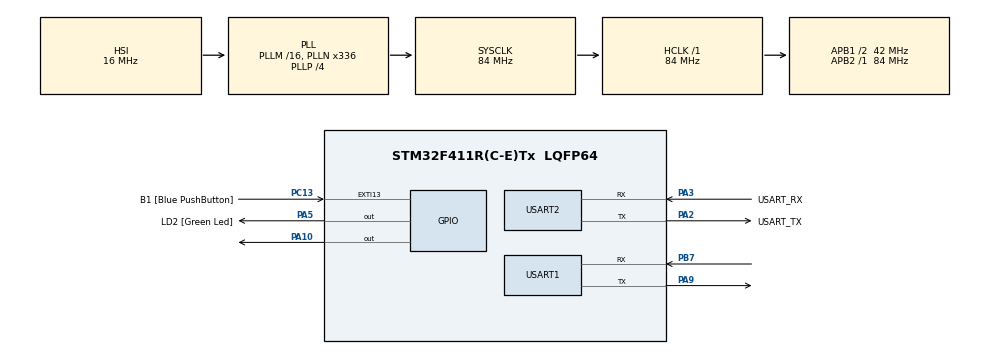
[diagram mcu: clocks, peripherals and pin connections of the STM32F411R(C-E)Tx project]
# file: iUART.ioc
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Mcu.Family=STM32F4
Mcu.Name=STM32F411R(C-E)Tx
Mcu.Package=LQFP64
NVIC.EXTI15_10_IRQn=true\:0\:0\:false\:false\:true\:true\:true\:true
NVIC.PriorityGroup=NVIC_PRIORITYGROUP_0
NVIC.USART1_IRQn=true\:0\:0\:false\:false\:true\:true\:true\:true
NVIC.USART2_IRQn=true\:0\:0\:false\:false\:true\:true\:true\:true
PA10.GPIO_PuPd=GPIO_NOPULL
PA10.Signal=GPIO_Output
PA13.GPIO_Label=TMS
PA13.Mode=Serial_Wire
PA13.Signal=SYS_JTMS-SWDIO
PA14.GPIO_Label=TCK
PA14.Mode=Serial_Wire
PA14.Signal=SYS_JTCK-SWCLK
PA2.GPIO_Label=USART_TX
PA2.Mode=Asynchronous
PA2.Signal=USART2_TX
PA3.GPIO_Label=USART_RX
PA3.Mode=Asynchronous
PA3.Signal=USART2_RX
PA5.GPIO_Label=LD2 [Green Led]
PA5.Signal=GPIO_Output
PA9.Mode=Asynchronous
PA9.Signal=USART1_TX
PB3.GPIO_Label=SWO
PB3.Signal=SYS_JTDO-SWO
PB7.Mode=Asynchronous
PB7.Signal=USART1_RX
PC13-ANTI_TAMP.GPIO_Label=B1 [Blue PushButton]
PC13-ANTI_TAMP.GPIO_ModeDefaultEXTI=GPIO_MODE_IT_FALLING
PC13-ANTI_TAMP.GPIO_PuPd=GPIO_NOPULL
PC13-ANTI_TAMP.Signal=GPXTI13
PC14-OSC32_IN.Mode=LSE-External-Oscillator
PC14-OSC32_IN.Signal=RCC_OSC32_IN
PC15-OSC32_OUT.Mode=LSE-External-Oscillator
PC15-OSC32_OUT.Signal=RCC_OSC32_OUT
PH0\ -\ OSC_IN.Mode=HSE-External-Clock-Source
PH0\ -\ OSC_IN.Signal=RCC_OSC_IN
PH1\ -\ OSC_OUT.Mode=HSE-External-Clock-Source
PH1\ -\ OSC_OUT.Signal=RCC_OSC_OUT
ProjectManager.HeapSize=0x200
ProjectManager.StackSize=0x400
ProjectManager.TargetToolchain=STM32CubeIDE
RCC.48MHZClocksFreq_Value=84000000
RCC.AHBFreq_Value=84000000
RCC.APB1CLKDivider=RCC_HCLK_DIV2
RCC.APB1Freq_Value=42000000
RCC.APB1TimFreq_Value=84000000
RCC.APB2Freq_Value=84000000
RCC.APB2TimFreq_Value=84000000
RCC.CortexFreq_Value=84000000
RCC.FLatency-AdvancedSettings=FLASH_LATENCY_2
RCC.HCLKFreq_Value=84000000
RCC.HSE_VALUE=8000000
RCC.HSI_VALUE=16000000
RCC.PLLN=336
RCC.PLLP=RCC_PLLP_DIV4
RCC.SYSCLKFreq_VALUE=84000000
RCC.SYSCLKSource=RCC_SYSCLKSOURCE_PLLCLK
RCC.VCOOutputFreq_Value=336000000
USART1.VirtualMode=VM_ASYNC
USART2.VirtualMode=VM_ASYNC
board=NUCLEO-F411RE

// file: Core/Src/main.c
/* USER CODE BEGIN Header */
/**
  ******************************************************************************
  * @file           : main.c
  * @brief          : Main program body
  ******************************************************************************
  * @attention
  *
  * Copyright (c) 2026 STMicroelectronics.
  * All rights reserved.
  *
  * This software is licensed under terms that can be found in the LICENSE file
  * in the root directory of this software component.
  * If no LICENSE file comes with this software, it is provided AS-IS.
  *
  ******************************************************************************
  */
/* USER CODE END Header */
#include "main.h"

/* USER CODE BEGIN Includes */
#include <stdio.h>
#include <string.h>
/* USER CODE END Includes */

UART_HandleTypeDef huart1;
UART_HandleTypeDef huart2;

void SystemClock_Config(void);
static void MX_GPIO_Init(void);
static void MX_USART2_UART_Init(void);
static void MX_USART1_UART_Init(void);
/* USER CODE BEGIN PFP */

#ifdef __GNUC__
  #define PUTCHAR_PROTOTYPE int __io_putchar(int ch)
#else
  #define PUTCHAR_PROTOTYPE int fputc(int ch, FILE *f)
#endif

PUTCHAR_PROTOTYPE
{
  HAL_UART_Transmit(&huart1, (uint8_t *)&ch, 1, 0xFFFF);
  return ch;
}

/* USER CODE END PFP */

/* USER CODE BEGIN 0 */

#define MAX_LEN 100

// PC(USART2) 관련
uint8_t pc_data;             // 1바이트 수신용
char pc_buffer[MAX_LEN];     // 문장 보관용
uint8_t pc_idx = 0;

// ID 관련 변수
char id[20] = "User";        // 초기 ID (기본값)
uint8_t is_id_mode = 0;

// 상대 보드(USART1) 관련
uint8_t board_data;          // 1바이트 수신용
char board_buffer[MAX_LEN];  // 문장 보관용
uint8_t board_idx = 0;

/* USER CODE END 0 */

int main(void)
{

  /* MCU Configuration--------------------------------------------------------*/

  /* Reset of all peripherals, Initializes the Flash interface and the Systick. */
  HAL_Init();

  /* Configure the system clock */
  SystemClock_Config();

  /* Initialize all configured peripherals */
  MX_GPIO_Init();
  MX_USART2_UART_Init();
  MX_USART1_UART_Init();
  /* USER CODE BEGIN 2 */
  HAL_GPIO_ReadPin(GPIOA, GPIO_PIN_5);
  // 수신 인터럽트 활성화 (1바이트를 받으면 인터럽트 발생)
  HAL_UART_Receive_IT(&huart2, &pc_data, 1);
  HAL_UART_Receive_IT(&huart1, &board_data, 1);
  /* USER CODE END 2 */

  /* Infinite loop */
  while (1)
  {

  }
}

void SystemClock_Config(void)
{
  RCC_OscInitTypeDef RCC_OscInitStruct = {0};
  RCC_ClkInitTypeDef RCC_ClkInitStruct = {0};

  /** Configure the main internal regulator output voltage
  */
  __HAL_RCC_PWR_CLK_ENABLE();
  __HAL_PWR_VOLTAGESCALING_CONFIG(PWR_REGULATOR_VOLTAGE_SCALE1);

  /** Initializes the RCC Oscillators according to the specified parameters
  * in the RCC_OscInitTypeDef structure.
  */
  RCC_OscInitStruct.OscillatorType = RCC_OSCILLATORTYPE_HSI;
  RCC_OscInitStruct.HSIState = RCC_HSI_ON;
  RCC_OscInitStruct.HSICalibrationValue = RCC_HSICALIBRATION_DEFAULT;
  RCC_OscInitStruct.PLL.PLLState = RCC_PLL_ON;
  RCC_OscInitStruct.PLL.PLLSource = RCC_PLLSOURCE_HSI;
  RCC_OscInitStruct.PLL.PLLM = 16;
  RCC_OscInitStruct.PLL.PLLN = 336;
  RCC_OscInitStruct.PLL.PLLP = RCC_PLLP_DIV4;
  RCC_OscInitStruct.PLL.PLLQ = 4;
  if (HAL_RCC_OscConfig(&RCC_OscInitStruct) != HAL_OK)
  {
    Error_Handler();
  }

  /** Initializes the CPU, AHB and APB buses clocks
  */
  RCC_ClkInitStruct.ClockType = RCC_CLOCKTYPE_HCLK|RCC_CLOCKTYPE_SYSCLK
                              |RCC_CLOCKTYPE_PCLK1|RCC_CLOCKTYPE_PCLK2;
  RCC_ClkInitStruct.SYSCLKSource = RCC_SYSCLKSOURCE_PLLCLK;
  RCC_ClkInitStruct.AHBCLKDivider = RCC_SYSCLK_DIV1;
  RCC_ClkInitStruct.APB1CLKDivider = RCC_HCLK_DIV2;
  RCC_ClkInitStruct.APB2CLKDivider = RCC_HCLK_DIV1;

  if (HAL_RCC_ClockConfig(&RCC_ClkInitStruct, FLASH_LATENCY_2) != HAL_OK)
  {
    Error_Handler();
  }
}

static void MX_USART1_UART_Init(void)
{

  huart1.Instance = USART1;
  huart1.Init.BaudRate = 115200;
  huart1.Init.WordLength = UART_WORDLENGTH_8B;
  huart1.Init.StopBits = UART_STOPBITS_1;
  huart1.Init.Parity = UART_PARITY_NONE;
  huart1.Init.Mode = UART_MODE_TX_RX;
  huart1.Init.HwFlowCtl = UART_HWCONTROL_NONE;
  huart1.Init.OverSampling = UART_OVERSAMPLING_16;
  if (HAL_UART_Init(&huart1) != HAL_OK)
  {
    Error_Handler();
  }

}

static void MX_USART2_UART_Init(void)
{

  huart2.Instance = USART2;
  huart2.Init.BaudRate = 115200;
  huart2.Init.WordLength = UART_WORDLENGTH_8B;
  huart2.Init.StopBits = UART_STOPBITS_1;
  huart2.Init.Parity = UART_PARITY_NONE;
  huart2.Init.Mode = UART_MODE_TX_RX;
  huart2.Init.HwFlowCtl = UART_HWCONTROL_NONE;
  huart2.Init.OverSampling = UART_OVERSAMPLING_16;
  if (HAL_UART_Init(&huart2) != HAL_OK)
  {
    Error_Handler();
  }

}

static void MX_GPIO_Init(void)
{
  GPIO_InitTypeDef GPIO_InitStruct = {0};

  /* GPIO Ports Clock Enable */
  __HAL_RCC_GPIOC_CLK_ENABLE();
  __HAL_RCC_GPIOH_CLK_ENABLE();
  __HAL_RCC_GPIOA_CLK_ENABLE();
  __HAL_RCC_GPIOB_CLK_ENABLE();

  /*Configure GPIO pin Output Level */
  HAL_GPIO_WritePin(GPIOA, LD2_Pin|GPIO_PIN_10, GPIO_PIN_RESET);

  /*Configure GPIO pin : B1_Pin */
  GPIO_InitStruct.Pin = B1_Pin;
  GPIO_InitStruct.Mode = GPIO_MODE_IT_FALLING;
  GPIO_InitStruct.Pull = GPIO_NOPULL;
  HAL_GPIO_Init(B1_GPIO_Port, &GPIO_InitStruct);

  /*Configure GPIO pins : LD2_Pin PA10 */
  GPIO_InitStruct.Pin = LD2_Pin|GPIO_PIN_10;
  GPIO_InitStruct.Mode = GPIO_MODE_OUTPUT_PP;
  GPIO_InitStruct.Pull = GPIO_NOPULL;
  GPIO_InitStruct.Speed = GPIO_SPEED_FREQ_LOW;
  HAL_GPIO_Init(GPIOA, &GPIO_InitStruct);

}

/* USER CODE BEGIN 4 */

void HAL_UART_RxCpltCallback(UART_HandleTypeDef *huart){

	if (huart->Instance == USART2) {
	        HAL_GPIO_WritePin(GPIOA, GPIO_PIN_5, 0);

	        // [A] Tab 키(\t)를 눌렀을 때 -> ID 변경 모드로 진입
	        if (pc_data == '\t' || pc_data == 0x09) {
	            is_id_mode = 1;       // 모드 변경
	            pc_idx = 0;           // 버퍼 초기화

	            // 안내 메시지 출력
	            char *msg = "\r\n[System] Input User ID: ";
	            HAL_UART_Transmit(&huart2, (uint8_t*)msg, strlen(msg), 100);
	        }

	        else if (pc_data == 0x08){
	        	char clear_command[] = "\033[1D\033[K";
	        	pc_buffer[pc_idx--] = '\0';
				HAL_UART_Transmit(&huart2, (uint8_t*)clear_command, strlen(clear_command), HAL_MAX_DELAY);
	        }

	        else if (pc_data == 0x7F || pc_data == '1'){
	        	char clear_command[] = "\033[2J\033[H";
	        	HAL_UART_Transmit(&huart2, (uint8_t*)clear_command, strlen(clear_command), HAL_MAX_DELAY);

	        }

	        // [B] 엔터 키(\r, \n)를 눌렀을 때
	        else if (pc_data == '\r' || pc_data == '\n') {
	            if (pc_idx > 0) {
	                pc_buffer[pc_idx] = '\0'; // 문자열 마무리

	                // --- 상황 1: ID 입력 모드였다면? ---
	                if (is_id_mode == 1) {
	                    strcpy(id, pc_buffer); // ID 변경 적용!
	                    is_id_mode = 0;        // 다시 채팅 모드로 복귀

	                    // 1. 나에게 알림
	                    char log_msg[120];
	                    sprintf(log_msg, "\r\n[System] ID -> [%s]\r\n", id);
	                    HAL_UART_Transmit(&huart2, (uint8_t*)log_msg, strlen(log_msg), 100);

	                    // 2. 상대방에게 알림 (선택사항)
	                    char send_msg[120];
	                    sprintf(send_msg, "\r\n[Info] The other person ID -> [%s]\r\n", id);
	                    HAL_UART_Transmit(&huart1, (uint8_t*)send_msg, strlen(send_msg), 100);
	                }

	                // --- 상황 2: 그냥 채팅 모드였다면? ---
	                else {
	                    // 1. 상대방에게 전송 (내 ID를 붙여서!)
	                    char send_msg[150];
	                    sprintf(send_msg, "[%s]: %s\r\n", id, pc_buffer); // 예: [Seung]: 안녕
	                    HAL_UART_Transmit(&huart1, (uint8_t*)send_msg, strlen(send_msg), 100);

	                    // 2. 내 화면에 표시
	                    char log_msg[150];
	                    sprintf(log_msg, "\r\n[%s]: %s\r\n", id, pc_buffer);
	                    HAL_UART_Transmit(&huart2, (uint8_t*)log_msg, strlen(log_msg), 100);
	                }
	                pc_idx = 0; // 버퍼 비우기
	            }
	        }

	        // [C] 일반 글자 입력 (엔터, 탭 아님)
	        else {
	            if (pc_idx < MAX_LEN - 1) {
	                pc_buffer[pc_idx++] = pc_data;
	                // 에코(Echo): 내가 친 글자 화면에 보여주기
	                HAL_UART_Transmit(&huart2, &pc_data, 1, 10);
	            }
	        }
	        HAL_UART_Receive_IT(&huart2, &pc_data, 1);
	    }

	    if (huart->Instance == USART1) { // 상대 보드로부터 데이터가 왔을 때

	        if (board_data == '\r' || board_data == '\n') {
	            if (board_idx > 0) {
	                board_buffer[board_idx] = '\0';

	                char log_msg[120];
	                sprintf(log_msg, "\r\n%s\r\n", board_buffer);
	                HAL_UART_Transmit(&huart2, (uint8_t*)log_msg, strlen(log_msg), 100);
	                HAL_GPIO_WritePin(GPIOA, GPIO_PIN_5, 1);

	                board_idx = 0;
	            }
	        }
	        else {
	            if (board_idx < MAX_LEN - 1) {
	                board_buffer[board_idx++] = board_data;

	            }
	        }
	        HAL_UART_Receive_IT(&huart1, &board_data, 1);
	    }
}

/* USER CODE END 4 */

void Error_Handler(void)
{
  __disable_irq();
  while (1)
  {
  }
}
